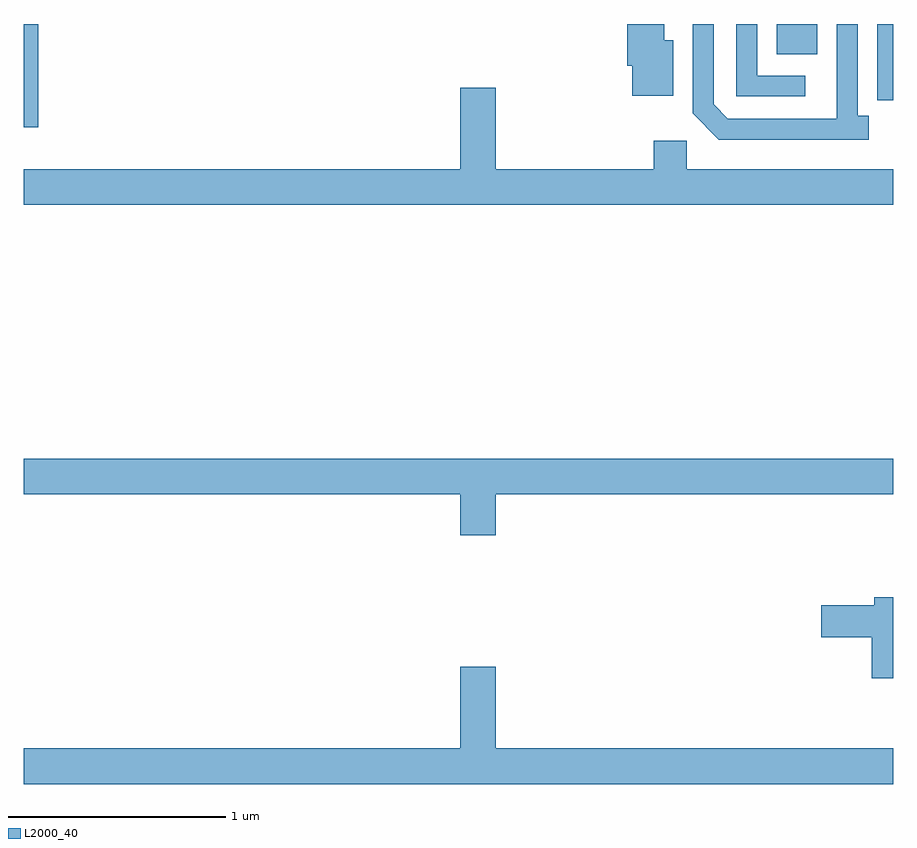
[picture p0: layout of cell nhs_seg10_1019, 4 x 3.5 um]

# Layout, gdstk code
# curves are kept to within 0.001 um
import gdstk
lib = gdstk.Library(unit=1e-6, precision=1e-09)
def R(c, l, rs):  # rectangles x0, y0, x1, y1
    for r in rs: c.add(gdstk.rectangle(r[:2], r[2:], *l))
def P(c, l, *ps):  # polygons
    for p in ps: c.add(gdstk.Polygon(p, *l))
L2000_40 = (2000, 40)

nhs_seg10_1019 = lib.new_cell('nhs_seg10_1019')
R(nhs_seg10_1019, L2000_40, [(163,1282.026,163.067,1282.5), (166.463,1282.361,166.651,1282.5)])
P(nhs_seg10_1019, L2000_40, [(166.594,1282.263),(166.374,1282.263),(166.374,1282.5),(166.278,1282.5),(166.278,1282.167),(166.594,1282.167)],
  [(165.988,1282.426),(165.946,1282.426),(165.946,1282.5),(165.776,1282.5),(165.776,1282.308),(165.8,1282.308),(165.8,1282.169),(165.988,1282.169)],
  [(166.888,1282.078),(166.836,1282.078),(166.836,1282.5),(166.74,1282.5),(166.739,1282.065),(166.239,1282.065),(166.173,1282.131),(166.173,1282.5),(166.077,1282.5),(166.077,1282.089),(166.198,1281.968),(166.888,1281.968)],
  [(167,1282.5),(166.926,1282.5),(166.926,1282.258),(166.927,1282.258),(166.927,1282.149),(167,1282.149)],
  [(167,1281.832),(166.05,1281.832),(166.05,1281.964),(165.899,1281.964),(165.899,1281.832),(165.172,1281.832),(165.172,1282.207),(165.008,1282.207),(165.008,1281.832),(163,1281.832),(163,1281.668),(167,1281.668)],
  [(165.172,1280.336),(167,1280.336),(167,1280.5),(163,1280.5),(163,1280.336),(165.008,1280.336),(165.008,1280.148),(165.172,1280.148)],
  [(167,1279.864),(166.913,1279.864),(166.913,1279.826),(166.668,1279.826),(166.668,1279.679),(166.901,1279.679),(166.901,1279.491),(167,1279.491)],
  [(167,1279.168),(165.172,1279.168),(165.172,1279.543),(165.008,1279.543),(165.008,1279.168),(163,1279.168),(163,1279.004),(167,1279.004)])

lib.write_gds('nhs_seg10_1019.gds')
